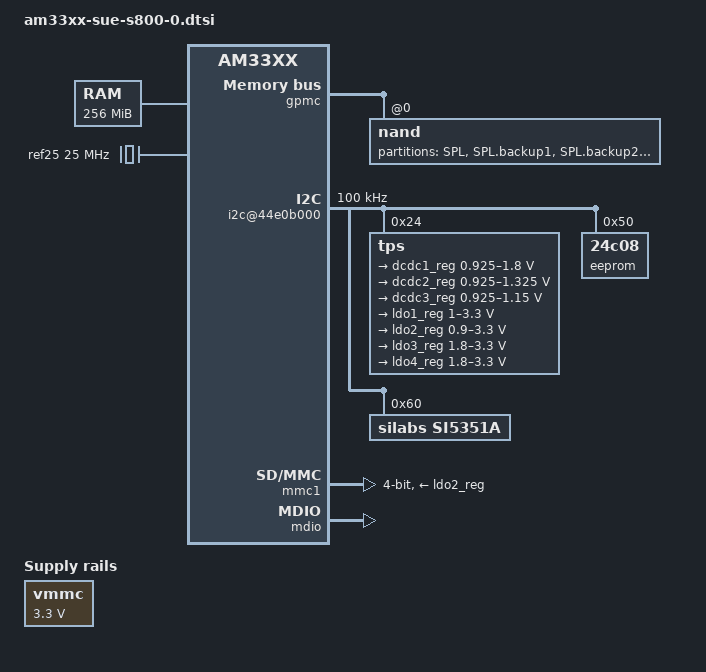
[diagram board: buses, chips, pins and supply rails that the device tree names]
/*
 * Copyright (C) 2012 Texas Instruments Incorporated - http://www.ti.com/
 *
 * This program is free software; you can redistribute it and/or modify
 * it under the terms of the GNU General Public License version 2 as
 * published by the Free Software Foundation.
 */

/include/ "am33xx.dtsi"

/ {
	compatible = "ti,am335x-raumfeld-connector", "ti,am33xx";

	memory {
		device_type = "memory";
		reg = <0x80000000 0x10000000>; /* 256 MB */
	};

	cpus {
		cpu@0 {
			cpu0-supply = <&dcdc2_reg>;
		};
	};
	
	am3358_pinmux: pinmux@44e10800 {
		uart1_pins: pinmux_uart1_pins {
			pinctrl-single,pins = <
				0x170 0x38	/* UART0_RXD */
				0x174 0x00	/* UART0_TXD */
			>;
		};

		i2c1_pins: pinmux_i2c1_pins {
			pinctrl-single,pins = <
				0x188 0x60	/* I2C0_SDA */
				0x18c 0x60	/* I2C0_SCL */
			>;
		};

		mmc1_pins: pinmux_mmc1_pins {
			pinctrl-single,pins = <
				0x0fc 0x38	/* MMC0_DAT0 */
				0x0f8 0x38	/* MMC0_DAT1 */
				0x0f4 0x38	/* MMC0_DAT2 */
				0x0f0 0x38	/* MMC0_DAT3 */
				0x100 0x38	/* MMC0_CLK */
				0x104 0x38	/* MMC0_CMD */
			>;
		};

		spi0_pins: pinmux_spi0_pins {
			pinctrl-single,pins = <
				0x150 0x28	/* SPI0_SCLK */
				0x154 0x38	/* SPI0_D0 */
				0x158 0x28	/* SPI0_D1 */
				0x15c 0x38	/* SPI0_CS0 */
			>;
		};
	};

	ocp {
		gpmc: gpmc@50000000 {
			status = "okay";

			nand@0,0 {
				reg = <0 0 0>; /* CS0 */
				nand-bus-width = <8>;
				ti,nand-ecc-opt = "bch8";
				elm_id = <&elm>;

				gpmc,sync-clk = <0>;
				gpmc,cs-on = <0>;
				gpmc,cs-rd-off = <44>;
				gpmc,cs-wr-off = <44>;
				gpmc,adv-on = <6>;
				gpmc,adv-rd-off = <34>;
				gpmc,adv-wr-off = <44>;
				gpmc,we-off = <40>;
				gpmc,oe-off = <54>;
				gpmc,access = <64>;
				gpmc,rd-cycle = <82>;
				gpmc,wr-cycle = <82>;
				gpmc,wr-access = <40>;
				gpmc,wr-data-mux-bus = <0>;

				#address-cells = <1>;
				#size-cells = <1>;

				partition@0 {
					label = "SPL";
					reg = <0x0 0x20000>;
				};

				partition@1 {
					label = "SPL.backup1";
					reg = <0x20000 0x20000>;
				};

				partition@2 {
					label = "SPL.backup2";
					reg = <0x40000 0x20000>;
				};

				partition@3 {
					label = "SPL.backup3";
					reg = <0x60000 0x20000>;
				};

				partition@4 {
					label = "U-Boot";
					reg = <0x80000 0x100000>;
				};

				partition@5 {
					label = "U-Boot Env";
					reg = <0x180000 0x20000>;
				};

				partition@6 {
					label = "Kernel";
					reg = <0x1a0000 0x600000>;
				};

				partition@7 {
					label = "DTB";
					reg = <0x7a0000 0x40000>;
				};

				partition@8 {
					label = "File System";
					reg = <0x7e0000 0>;
				};
			};
		};

		i2c@44e0b000 {
			status = "okay";
			clock-frequency = <100000>;
			pinctrl-names = "default";
			pinctrl-0 = <&i2c1_pins>;

			tps: tps@24 {
				reg = <0x24>;
			};

			eeprom: at24@50 {
				compatible = "24c08";
				reg = <0x50>;
				pagesize = <16>;
			};

			/* Si5351a i2c clock generator */
			si5351a: clock-generator@60 {
				compatible = "silabs,si5351a";
				reg = <0x60>;
				#address-cells = <1>;
				#size-cells = <0>;
				#clock-cells = <1>;

				/* connect xtal input to 25MHz reference */
				clocks = <&ref25>;

				/* connect xtal input as source of pll0 and pll1 */
				pll-source = <0 0>, <1 0>;

				/*
				 * overwrite clkout0 configuration with:
				 * - 8mA output drive strength
				 * - pll0 as clock source of multisynth0
				 * - multisynth0 as clock source of output divider
				 * - multisynth0 can change pll0
				 */
				clkout0 {
					reg = <0>;
					drive-strength = <8>;
					multisynth-source = <0>;
					clock-source = <0>;
					pll-master;
				};

				/*
				 * overwrite clkout1 configuration with:
				 * - 8mA output drive strength
				 * - pll1 as clock source of multisynth1
				 * - multisynth1 as clock source of output divider
				 * - multisynth1 can change pll1
				 */
				clkout1 {
					reg = <1>;
					drive-strength = <8>;
					multisynth-source = <1>;
					clock-source = <0>;
					pll-master;
					clock-frequency = <32768>;
				};
			};
		};

		uart1: serial@44e09000 {
			pinctrl-names = "default";
			pinctrl-0 = <&uart1_pins>;
		};

		mmc1: mmc@48060000 {
			pinctrl-names = "default";
			pinctrl-0 = <&mmc1_pins>;
			ti,non-removable;
			bus-width = <4>;
			vmmc-supply = <&ldo2_reg>;
			vmmc_aux-supply = <&vmmc>;
			ti,swakeup-not-implemented;
			status = "okay";
		};

	};

	/* 25MHz output from AR8030 Ethernet PHY */
	ref25: ref25M {
		compatible = "fixed-clock";
		#clock-cells = <0>;
		clock-frequency = <25000000>;
	};

	vmmc: reg_vmmc_gpio {
		compatible = "regulator-fixed";
		regulator-name = "vmmc";
		regulator-min-microvolt = <3300000>;
		regulator-max-microvolt = <3300000>;
		regulator-enable-high;

	};
	
	mdio: davinci_mdio@4a101000 {
		compatible = "ti,davinci-mdio";
		ti,hwmods = "davinci_mdio";
	};
};

/include/ "tps65217.dtsi"

&tps {
	regulators {
		dcdc1_reg: regulator@0 {
			/* VDD_1V8 */
			regulator-min-microvolt = <925000>;
			regulator-max-microvolt = <1800000>;
			regulator-boot-on;
			regulator-always-on;
		};

		dcdc2_reg: regulator@1 {
			/* VDD_MPU voltage limits 0.95V - 1.26V with +/-4% tolerance */
			regulator-name = "vdd_mpu";
			regulator-min-microvolt = <925000>;
			regulator-max-microvolt = <1325000>; /* ??? */
			regulator-boot-on;
			regulator-always-on;
		};

		dcdc3_reg: regulator@2 {
			/* VDD_CORE voltage limits 0.95V - 1.1V with +/-4% tolerance */
			regulator-name = "vdd_core";
			regulator-min-microvolt = <925000>;
			regulator-max-microvolt = <1150000>; /* ??? */
			regulator-boot-on;
			regulator-always-on;
		};

		ldo1_reg: regulator@3 {
			/* VRTC */
			regulator-min-microvolt = <1000000>;
			regulator-max-microvolt = <3300000>;
			regulator-boot-on;
			regulator-always-on;
		};

		ldo2_reg: regulator@4 {
			/* WIFI_REG_EN */
			regulator-min-microvolt = <900000>;
			regulator-max-microvolt = <3300000>;
			regulator-boot-on;
			regulator-always-on;
		};

		ldo3_reg: regulator@5 {
			regulator-min-microvolt = <1800000>;
			regulator-max-microvolt = <3300000>;
			regulator-boot-on;
			regulator-always-on;
		};

		ldo4_reg: regulator@6 {
			regulator-min-microvolt = <1800000>;
			regulator-max-microvolt = <3300000>;
			regulator-boot-on;
			regulator-always-on;
		};
	};
};

